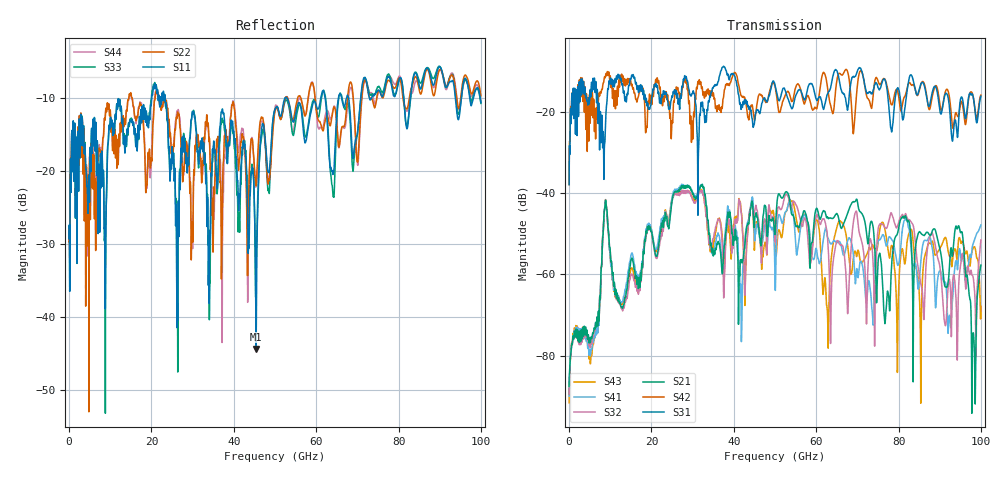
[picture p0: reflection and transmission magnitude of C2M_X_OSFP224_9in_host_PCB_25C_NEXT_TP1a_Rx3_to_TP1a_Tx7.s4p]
# GHz S RI R 45
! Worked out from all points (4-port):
!   4000 points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, 25 MHz to 100 GHz, reference 45 ohm
!   strongest paths, dB at 25 MHz, 25.02 GHz, 50.02 GHz, 75.03 GHz, 100 GHz:
!     S31: -38.0, -16.1, -13.6, -14.1, -16.2
!     S42: -37.9, -22.2, -13.8, -12.5, -15.9
!     S21: -87.5, -41.9, -50.1, -57.2, -57.7
!     S32: -89.4, -42.2, -51.9, -49.1, -51.5
!     S41: -89.9, -41.0, -61.4, -51.9, -47.9
!     S43: -91.5, -41.4, -50.6, -52.4, -67.8
!   lowest |S11| = -44.4 dB at 45.42 GHz (marker M1), VSWR 1.01, Z = 44.5 + j0.133 ohm
!   |S11| at or under -10 dB: start of sweep to 20.07 GHz; 23.33 GHz to 52.41 GHz (29.08 GHz wide, 76.8 % of centre); 52.86 GHz to 61.12 GHz (8.266 GHz wide, 14.5 % of centre) (the widest 3 of 16)
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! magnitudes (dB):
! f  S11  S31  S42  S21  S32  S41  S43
! 25 MHz  -29.3  -38.0  -37.9  -87.5  -89.4  -89.9  -91.5
! 5.55 GHz  -15.0  -13.6  -18.6  -75.6  -76.9  -78.2  -79.7
! 8.85 GHz  -35.2  -23.5  -11.3  -41.8  -41.7  -41.7  -41.6
! 12.95 GHz  -13.0  -13.2  -12.6  -68.3  -68.8  -66.7  -67.2
! 45.42 GHz  -44.4  -20.0  -20.0  -44.8  -43.1  -48.6  -47.3
! 92.38 GHz  -7.8  -19.0  -16.6  -57.9  -61.2  -70.0  -55.6
! 100 GHz  -10.6  -16.2  -15.9  -57.7  -51.5  -47.9  -67.8
